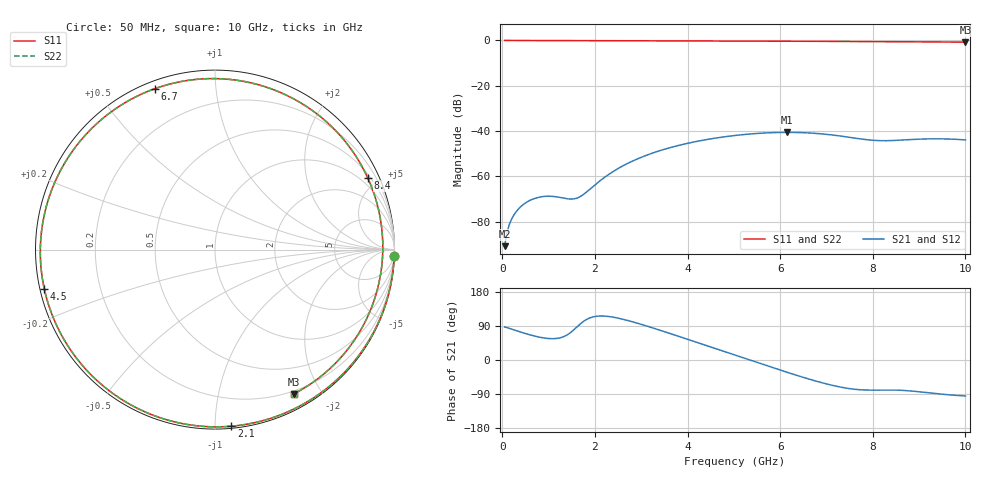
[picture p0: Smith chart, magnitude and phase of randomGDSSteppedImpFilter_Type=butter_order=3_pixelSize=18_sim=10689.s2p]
! freq	dB(S11)	phase(S11)	dB(S12)	phase(S12)
!  dB(S21)	phase(S21)	dB(S22)	phase(S22)
!S-par simulation data
#  GHz  S  DB  R 50
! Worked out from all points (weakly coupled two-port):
!   200 points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, 50 MHz to 10 GHz, reference 50 ohm
!   highest |S21| = -40.59 dB at 6.15 GHz (marker M1); lowest = -90.8 dB at 50 MHz (marker M2)
!   lowest |S11| = -0.8 dB at 10 GHz (marker M3), VSWR 22.78, Z = 8.38 - j83.6 ohm
!   |S11| at or under -10 dB: nowhere
!   |S22| runs from -0.8 to 0.0 dB; largest |S21 - S12| = 0
!   S11 on the Smith chart (normalised r, x): 50 MHz: 1, -53; 2.1 GHz: 0.01, -1.10; 4.5 GHz: 0.01, -0.11; 6.7 GHz: 0.03, +0.69; 8.4 GHz: 0.64, +4.42; 10 GHz: 0.17, -1.67
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0.05  -0.01 -2.2  -90.83 87.3  -90.83 87.3  -0.01 -2.2
0.15  -0.01 -6.4  -81.37 83.5  -81.37 83.5  -0.01 -6.4
0.4  -0.02 -17.0  -73.35 73.6  -73.35 73.6  -0.02 -17.0
0.7  -0.03 -29.6  -69.76 63.1  -69.76 63.1  -0.03 -29.6
1  -0.05 -41.9  -68.78 56.7  -68.78 56.7  -0.05 -42.0
1.5  -0.08 -61.9  -70.03 75.0  -70.03 75.0  -0.08 -61.9
1.75  -0.09 -71.6  -68.04 101.5  -68.04 101.5  -0.09 -71.6
2.1  -0.10 -84.8  -62.14 116.1  -62.14 116.1  -0.10 -84.8
2.7  -0.13 -106.4  -54.36 104.6  -54.36 104.6  -0.13 -106.5
3.4  -0.16 -130.5  -48.68 78.8  -48.68 78.8  -0.16 -130.5
4.5  -0.21 -167.2  -43.45 34.4  -43.45 34.4  -0.21 -167.2
5.05  -0.25 174.1  -41.90 11.9  -41.90 11.9  -0.25 174.0
5.6  -0.29 154.5  -40.93 -10.5  -40.93 -10.5  -0.29 154.4
6.15  -0.33 133.5  -40.59 -32.5  -40.59 -32.5  -0.33 133.3
6.7  -0.38 110.5  -40.94 -53.1  -40.94 -53.1  -0.38 110.4
7.15  -0.42 90.0  -41.79 -67.5  -41.79 -67.5  -0.42 89.8
7.55  -0.46 70.4  -42.93 -76.4  -42.93 -76.4  -0.46 70.2
8.35  -0.53 27.8  -44.24 -79.1  -44.24 -79.1  -0.53 27.6
8.4  -0.53 25.0  -44.21 -79.1  -44.21 -79.1  -0.54 24.8
8.8  -0.58 2.8  -43.78 -81.5  -43.78 -81.5  -0.58 2.6
9.15  -0.62 -16.6  -43.48 -85.8  -43.48 -85.8  -0.62 -16.7
10  -0.76 -61.4  -43.92 -94.9  -43.92 -94.9  -0.76 -61.5
